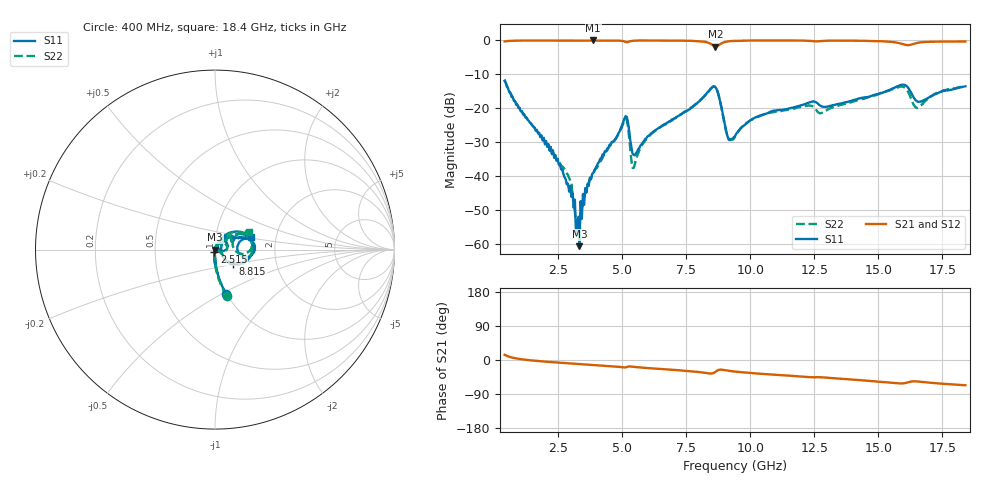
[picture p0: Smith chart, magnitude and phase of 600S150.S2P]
!  American Technical Ceramics  Date:  4/26/2005
!  One Norden Lane
!  Huntington Station,  NY.  11746-2102
!  Tel:  (631) 622-4700  Fax:  (631) 622-4748
!  Part Number  600S150  Mounting Orientation: Horizontal
!  Description: Ultra Low ESR Microwave capacitors
!  Application: Coupling, Bypass, Tuning, DC Block
!  Filters, Matching
# GHZ S DB R 50
! Freq  |S11|  S11 Ph  |S21|  S21 Ph  |S12|  S12 Ph  |S22|  S22 Ph
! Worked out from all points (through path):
!   401 points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, 400 MHz to 18.4 GHz, reference 50 ohm
!   highest |S21| = 0.00 dB at 3.865 GHz (marker M1); lowest = -1.8 dB at 8.635 GHz (marker M2)
!   group delay of S21, straight-line fit = 10.7 ps
!   lowest |S11| = -60.7 dB at 3.325 GHz (marker M3), VSWR 1.00, Z = 50.1 + j0.0113 ohm
!   |S11| at or under -10 dB: start of sweep to end of sweep
!   |S22| runs from -54.9 to -11.5 dB; largest |S21 - S12| = 0.026
!   S11 on the Smith chart (normalised r, x): 400 MHz: 0.99, -0.52; 2.515 GHz: 0.99, -0.03; 8.815 GHz: 1.20, -0.20; 18.4 GHz: 1.48, +0.22
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0.4  -11.95 -76.3  -0.29 13.8  -0.08 13.2  -11.52 -75.7
2.515  -36.65 -104.9  -0.01 -7.0  -0.03 -7.7  -35.51 -91.7
2.92  -44.58 -84.5  -0.01 -8.9  -0.04 -9.5  -40.49 -88.8
3.19  -57.13 -25.5  0.00 -10.1  -0.05 -10.6  -53.19 -63.6
3.325  -60.67 7.0  -0.01 -10.7  -0.05 -11.2  -52.01 11.4
3.415  -52.64 24.7  0.00 -11.1  -0.05 -11.5  -49.97 35.8
3.55  -43.53 68.9  -0.01 -11.7  -0.06 -12.1  -44.65 54.7
3.865  -39.11 62.7  0.00 -13.1  -0.05 -13.4  -39.27 63.1
5.08  -23.09 44.2  -0.30 -19.7  -0.33 -19.7  -23.61 31.2
5.44  -33.73 18.9  -0.08 -18.1  -0.10 -18.1  -37.61 25.0
6.43  -25.75 59.0  -0.01 -23.3  -0.01 -23.5  -25.76 59.0
8.635  -13.75 -8.6  -1.79 -31.4  -1.80 -31.2  -13.74 -6.0
8.815  -17.83 -39.1  -1.12 -25.5  -1.15 -25.5  -18.00 -37.1
9.13  -28.88 -20.2  -0.27 -28.1  -0.30 -28.1  -28.51 -15.7
9.4  -28.18 26.8  -0.13 -30.6  -0.14 -30.5  -28.44 29.4
10.345  -22.32 46.8  -0.01 -36.1  0.00 -36.0  -22.30 47.1
12.415  -18.06 34.9  -0.19 -45.6  -0.18 -45.7  -19.32 29.9
12.775  -19.43 26.8  -0.17 -45.6  -0.15 -45.7  -21.40 36.4
15.43  -14.65 20.5  -0.37 -59.5  -0.34 -59.2  -14.78 26.7
16.015  -13.06 0.1  -1.21 -61.3  -1.15 -61.2  -13.81 3.0
16.51  -17.95 -3.6  -0.73 -56.5  -0.66 -56.6  -19.94 12.0
18.4  -13.52 19.6  -0.30 -66.7  -0.27 -66.9  -13.50 28.0
